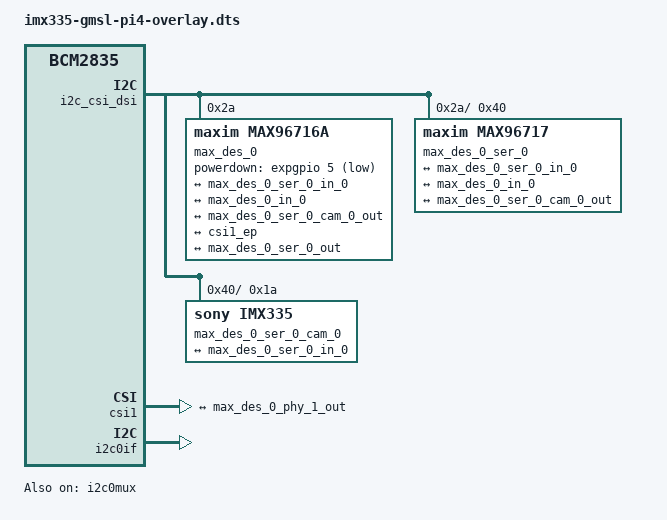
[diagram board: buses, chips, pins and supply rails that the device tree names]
/dts-v1/;
/plugin/;

/{
	compatible = "brcm,bcm2835";
};

&i2c_csi_dsi {
	status = "okay";
	max_des_0: gmsl-deserializer@2a {
		#address-cells = <1>;
		#size-cells = <0>;

		compatible = "maxim,max96716a";
		reg = <0x2a>;
		/* GPIO_ACTIVE_LOW = 1 */
		powerdown-gpios = <&expgpio 5 1>;
	};
};

&cam1_reg {
	status = "disabled";
};

&max_des_0 {
	i2c-alias-pool = <0x40 0x41 0x42 0x43>;

	max_des_0_i2c_adapter: i2c-atr {
		#address-cells = <1>;
		#size-cells = <0>;
	};

	ports {
		#address-cells = <1>;
		#size-cells = <0>;
	};
};

&max_des_0 {
	ports {
		port@3 {
			reg = <3>;

			max_des_0_phy_1_out: endpoint {
				clock-lanes = <0>;
				data-lanes = <1 2>;
				link-frequencies = /bits/ 64 <750000000>;
			};
		};
	};
};

&csi1 {
	status = "okay";
	compatible = "brcm,bcm2835-unicam-upstream";

	port {
		csi1_ep: endpoint {
			remote-endpoint = <&max_des_0_phy_1_out>;
			clock-lanes = <0>;
			data-lanes = <1 2>;
			link-frequencies = /bits/ 64 <750000000>;
			clock-noncontinuous;
		};
	};
};

&max_des_0_phy_1_out {
	remote-endpoint = <&csi1_ep>;
};

&max_des_0_i2c_adapter {
	max_des_0_i2c_0: i2c@0 {
		#address-cells = <1>;
		#size-cells = <0>;
		reg = <0x0>;
	};
};

&max_des_0_i2c_0 {
	max_des_0_ser_0: gmsl-serializer@40 {
		#address-cells = <1>;
		#size-cells = <0>;
		#gpio-cells = <2>;
		#clock-cells = <0>;

		compatible = "maxim,max96717";
		reg = <0x40>;

		gpio-controller;
		gpio-ranges = <&max_des_0_ser_0 0 0 11>;
	};
};

&max_des_0_ser_0 {
	i2c-alias-pool = <0x50 0x51>;

	i2c-atr {
		#address-cells = <1>;
		#size-cells = <0>;

		max_des_0_ser_0_i2c_0: i2c@0 {
			#address-cells = <1>;
			#size-cells = <0>;
			reg = <0x0>;
		};
	};

	ports {
		#address-cells = <1>;
		#size-cells = <0>;

		port@1 {
			reg = <1>;

			max_des_0_ser_0_out: endpoint {
				remote-endpoint = <&max_des_0_in_0>;
			};
		};
	};
};

&max_des_0 {
	ports {
		port@0 {
			reg = <0x0>;

			max_des_0_in_0: endpoint {
				remote-endpoint = <&max_des_0_ser_0_out>;
			};
		};
	};
};

&{/} {
	max_des_0_ser_0_cam_0_xclk: max_des_0_ser_0_cam_0_xclk {
		compatible = "fixed-clock";
		#clock-cells = <0>;
		clock-frequency = <24000000>;
	};
};

&max_des_0_ser_0_i2c_0 {
	max_des_0_ser_0_cam_0: imx335@1a {
		compatible = "sony,imx335";
		reg = <0x1a>;
		clocks = <&max_des_0_ser_0_cam_0_xclk>;

		rotation = <0>;
		orientation = <2>;
		sony,hot-attach;
		sony,default-pixel-format = <10>;
		port {
			max_des_0_ser_0_cam_0_out: endpoint {
				clock-lanes = <0>;
				data-lanes = <1 2>;
				link-frequencies = /bits/ 64 <594000000>;
				remote-endpoint = <&max_des_0_ser_0_in_0>;
			};
		};
	};
};

&max_des_0_ser_0 {
	ports {
		port@0 {
			reg = <0>;

			max_des_0_ser_0_in_0: endpoint {
				clock-lanes = <0>;
				data-lanes = <1 2>;
				link-frequencies = /bits/ 64 <594000000>;
				remote-endpoint = <&max_des_0_ser_0_cam_0_out>;
			};
		};
	};
};

&i2c0if {
	status = "okay";
};

&i2c0mux {
	status = "okay";
};
